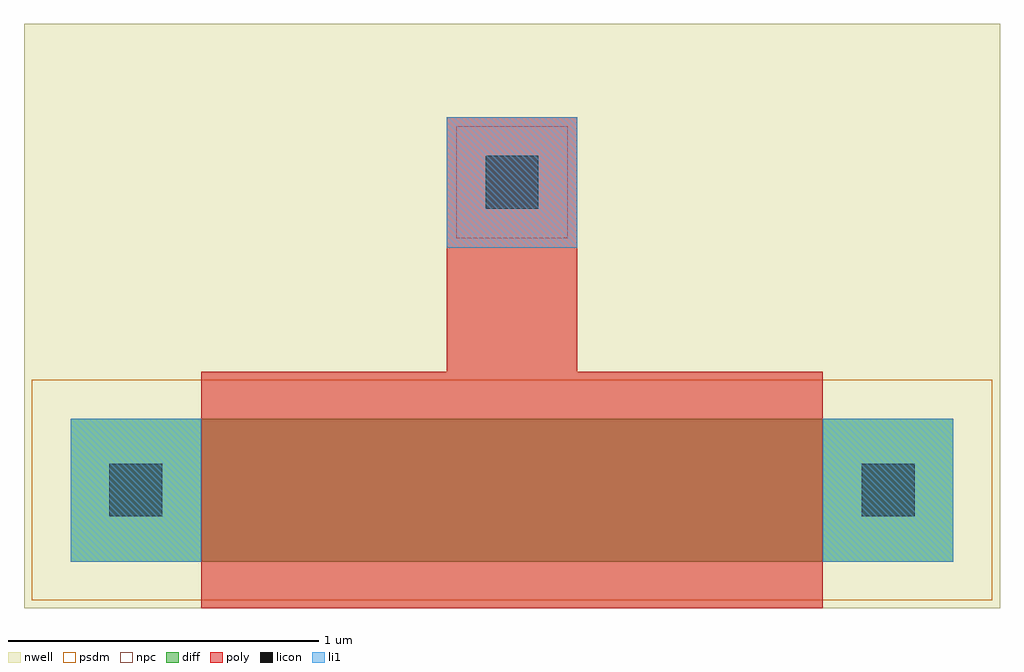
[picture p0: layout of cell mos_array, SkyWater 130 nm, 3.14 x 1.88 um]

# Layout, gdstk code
import gdstk
lib = gdstk.Library(unit=1e-6, precision=1e-09)
def R(c, l, rs):  # rectangles x0, y0, x1, y1
    for r in rs: c.add(gdstk.rectangle(r[:2], r[2:], *l))
nwell = (64, 20)
diff = (65, 20)
poly = (66, 20)
licon = (66, 44)
li1 = (67, 20)
psdm = (94, 20)
npc = (95, 20)

mos_array = lib.new_cell('mos_array')
R(mos_array, nwell, [(-0.15,-0.15,2.99,1.73)])
R(mos_array, diff, [(0,0,2.84,0.46)])
R(mos_array, poly, [(0.42,-0.15,2.42,0.46), (0.42,0.46,2.42,0.61), (0.42,0.46,2.42,0.61), (1.21,0.61,1.63,1.43)])
R(mos_array, licon, [(0.125,0.145,0.295,0.315), (2.545,0.145,2.715,0.315), (1.335,1.135,1.505,1.305)])
R(mos_array, li1, [(0,0,0.42,0.46), (2.42,0,2.84,0.46), (1.21,1.01,1.63,1.43)])
R(mos_array, psdm, [(-0.125,-0.125,2.965,0.585)])
R(mos_array, npc, [(1.24,1.04,1.6,1.4)])

lib.write_gds('mos_array.gds')
